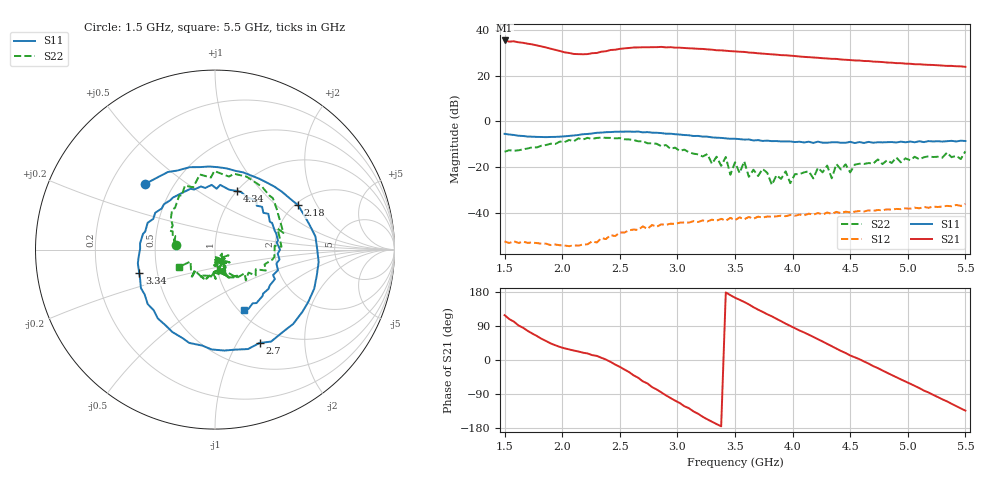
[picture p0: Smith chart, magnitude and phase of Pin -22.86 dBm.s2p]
! RsaToolbox (C) 2015 Rohde & Schwarz America
! Number of points: 101
! Number of ports: 2
! Balanced ports?: No
# Hz S RI R 50
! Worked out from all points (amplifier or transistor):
!   101 points, 1.5 GHz to 5.5 GHz, reference 50 ohm
!   highest |S21| = 35.3 dB at 1.5 GHz (marker M1)
!   |S21| within 3 dB of that: start of sweep to 1.854 GHz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
!   unconditionally stable (mu >= 1): start of sweep to end of sweep
!   at 2.14 GHz: K = 5.53, MAG = 31.4 dB, |S12| = -54.2 dB
!   at 3.5 GHz: K = 1.89, MAG = 31.4 dB, |S12| = -43.0 dB
!   at 5.5 GHz: K = 1.73, MAG = 24.9 dB, |S12| = -36.0 dB
!   S11 on the Smith chart (normalised r, x): 1.5 GHz: 0.34, +0.35; 2.18 GHz: 2.08, +1.41; 2.7 GHz: 0.80, -1.24; 3.34 GHz: 0.39, -0.13; 4.34 GHz: 1.00, +0.75; 5.5 GHz: 1.05, -0.83
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1.5e9  -0.3925 0.3643  -27.51 51.18  0.00159 -0.00182  -0.2165 0.0276
1.58e9  -0.2628 0.4322  -10.95 54.6  0.00114 -0.00217  -0.2265 0.0344
1.66e9  -0.1412 0.4592  4.32 51.43  0.00072 -0.00228  -0.235 0.0718
1.82e9  0.0648 0.4524  24.07 35.82  -0.000114 -0.00215  -0.2448 0.1651
2.02e9  0.2889 0.3733  27.51 16.44  -0.000351 -0.00194  -0.1858 0.2996
2.18e9  0.4632 0.2469  27.44 9.614  -0.000516 -0.00201  -0.0229 0.4017
2.34e9  0.5696 0.000254  32.87 3.4  -0.00108 -0.00265  0.1758 0.4064
2.5e9  0.5191 -0.2928  36.19 -11.81  -0.0023 -0.00302  0.3222 0.2865
2.7e9  0.2481 -0.5201  22.87 -34.36  -0.00442 -0.00263  0.3704 0.016
2.86e9  -0.0183 -0.5563  3.414 -41.95  -0.00563 -0.000969  0.2762 -0.0822
3.02e9  -0.2377 -0.4591  -16.09 -37.19  -0.00597 0.00166  0.1869 -0.1285
3.14e9  -0.3415 -0.3382  -27.81 -27.14  -0.00597 0.00304  0.1148 -0.1613
3.34e9  -0.4223 -0.1286  -34.85 -6.698  -0.00383 0.00566  0.0742 -0.1528
3.5e9  -0.4175 0.0351  -32.34 9.016  -0.00199 0.00676  0.0184 -0.1272
3.66e9  -0.3439 0.1711  -23.8 20.4  0.000303 0.00753  -0.00494 -0.0883
3.86e9  -0.2335 0.2903  -9.127 27  0.00386 0.00759  0.0168 -0.0648
4.18e9  0.00929 0.3392  12.01 21.63  0.00824 0.00413  -0.000205 -0.0571
4.34e9  0.124 0.327  18.6 13.72  0.0095 0.00153  0.0224 -0.0529
4.58e9  0.2625 0.2382  21.24 0.8176  0.0106 -0.00333  0.0576 -0.1047
4.86e9  0.3509 0.0507  14.71 -12.13  0.00716 -0.0095  -0.0132 -0.123
5.18e9  0.3335 -0.1647  1.28 -17.04  0.000437 -0.0131  -0.0625 -0.1618
5.5e9  0.1617 -0.337  -10.66 -11.21  -0.00911 -0.0129  -0.2009 -0.0971
